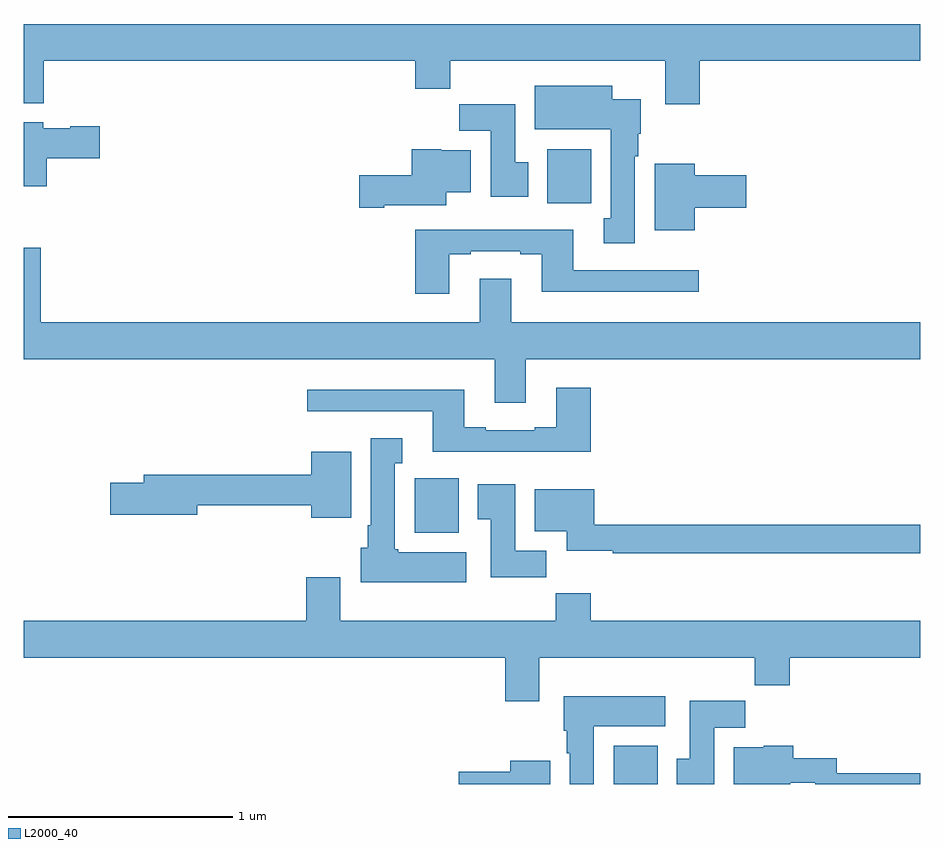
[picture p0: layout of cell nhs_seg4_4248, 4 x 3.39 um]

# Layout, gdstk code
import gdstk
lib = gdstk.Library(unit=1e-6, precision=1e-09)
def R(c, l, rs):  # rectangles x0, y0, x1, y1
    for r in rs: c.add(gdstk.rectangle(r[:2], r[2:], *l))
def P(c, l, *ps):  # polygons
    for p in ps: c.add(gdstk.Polygon(p, *l))
L2000_40 = (2000, 40)

nhs_seg4_4248 = lib.new_cell('nhs_seg4_4248')
R(nhs_seg4_4248, L2000_40, [(339.632,818.9,339.829,819.07), (338.744,820.022,338.941,820.264), (339.335,821.492,339.532,821.734)])
P(nhs_seg4_4248, L2000_40, [(340.016,822.128),(341,822.128),(341,822.292),(337,822.292),(337,821.939),(337.088,821.939),(337.088,822.128),(338.747,822.128),(338.747,822.004),(338.903,822.004),(338.903,822.128),(339.863,822.128),(339.863,821.934),(340.016,821.934)],
  [(339.727,821.702),(339.742,821.702),(339.742,821.802),(339.754,821.802),(339.754,821.956),(339.625,821.956),(339.625,822.016),(339.281,822.016),(339.281,821.822),(339.62,821.822),(339.62,821.426),(339.587,821.426),(339.587,821.313),(339.727,821.313)],
  [(339.25,821.676),(339.193,821.676),(339.193,821.934),(338.944,821.934),(338.944,821.816),(339.083,821.816),(339.083,821.52),(339.25,821.52)],
  [(337.103,821.693),(337.339,821.693),(337.339,821.835),(337.206,821.835),(337.206,821.827),(337.086,821.827),(337.086,821.854),(337,821.854),(337,821.568),(337.103,821.568)],
  [(338.608,821.483),(338.884,821.483),(338.884,821.54),(338.995,821.54),(338.995,821.728),(338.862,821.728),(338.862,821.734),(338.732,821.734),(338.732,821.618),(338.496,821.618),(338.496,821.471),(338.608,821.471)],
  [(339.994,821.471),(340.225,821.471),(340.225,821.618),(339.994,821.618),(339.994,821.668),(339.815,821.668),(339.815,821.372),(339.994,821.372)],
  [(338.899,821.265),(338.995,821.265),(338.995,821.277),(339.215,821.277),(339.215,821.265),(339.311,821.265),(339.311,821.096),(340.012,821.096),(340.012,821.193),(339.451,821.193),(339.451,821.374),(338.747,821.374),(338.747,821.088),(338.899,821.088)],
  [(339.241,820.796),(341,820.796),(341,820.96),(339.175,820.96),(339.175,821.155),(339.035,821.155),(339.035,820.96),(337.076,820.96),(337.076,821.293),(337,821.293),(337,820.796),(339.101,820.796),(339.101,820.602),(339.241,820.602)],
  [(339.53,820.669),(339.377,820.669),(339.377,820.492),(339.281,820.492),(339.281,820.479),(339.061,820.479),(339.061,820.492),(338.965,820.492),(338.965,820.66),(338.265,820.66),(338.265,820.563),(338.825,820.563),(338.825,820.382),(339.53,820.382)],
  [(338.974,819.934),(338.67,819.934),(338.67,819.948),(338.656,819.948),(338.656,820.331),(338.689,820.331),(338.689,820.444),(338.549,820.444),(338.549,820.054),(338.534,820.054),(338.534,819.954),(338.504,819.954),(338.504,819.8),(338.974,819.8)],
  [(338.461,820.384),(338.282,820.384),(338.282,820.28),(337.535,820.28),(337.535,820.244),(337.386,820.244),(337.386,820.102),(337.774,820.102),(337.774,820.144),(338.282,820.144),(338.282,820.088),(338.461,820.088)],
  [(339.332,819.94),(339.193,819.94),(339.193,820.237),(339.026,820.237),(339.026,820.081),(339.083,820.081),(339.083,819.822),(339.332,819.822)],
  [(341,820.058),(339.545,820.058),(339.545,820.216),(339.281,820.216),(339.281,820.028),(339.422,820.028),(339.422,819.941),(339.628,819.941),(339.628,819.93),(341,819.93)],
  [(339.301,819.464),(340.261,819.464),(340.261,819.34),(340.418,819.34),(340.418,819.464),(341,819.464),(341,819.628),(339.53,819.628),(339.53,819.752),(339.373,819.752),(339.373,819.628),(338.413,819.628),(338.413,819.823),(338.261,819.823),(338.261,819.628),(337,819.628),(337,819.464),(339.149,819.464),(339.149,819.27),(339.301,819.27)],
  [(339.544,819.158),(339.862,819.158),(339.862,819.292),(339.41,819.292),(339.41,819.138),(339.422,819.138),(339.422,819.038),(339.437,819.038),(339.437,818.9),(339.544,818.9)],
  [(340.081,819.152),(340.22,819.152),(340.22,819.271),(339.971,819.271),(339.971,819.012),(339.914,819.012),(339.914,818.9),(340.081,818.9)],
  [(340.42,818.906),(340.533,818.906),(340.533,818.9),(341,818.9),(341,818.948),(340.629,818.948),(340.629,819.016),(340.433,819.016),(340.433,819.07),(340.302,819.07),(340.302,819.064),(340.169,819.064),(340.169,818.9),(340.42,818.9)],
  [(339.349,819.004),(339.17,819.004),(339.17,818.954),(338.94,818.954),(338.94,818.9),(339.349,818.9)])

lib.write_gds('nhs_seg4_4248.gds')
